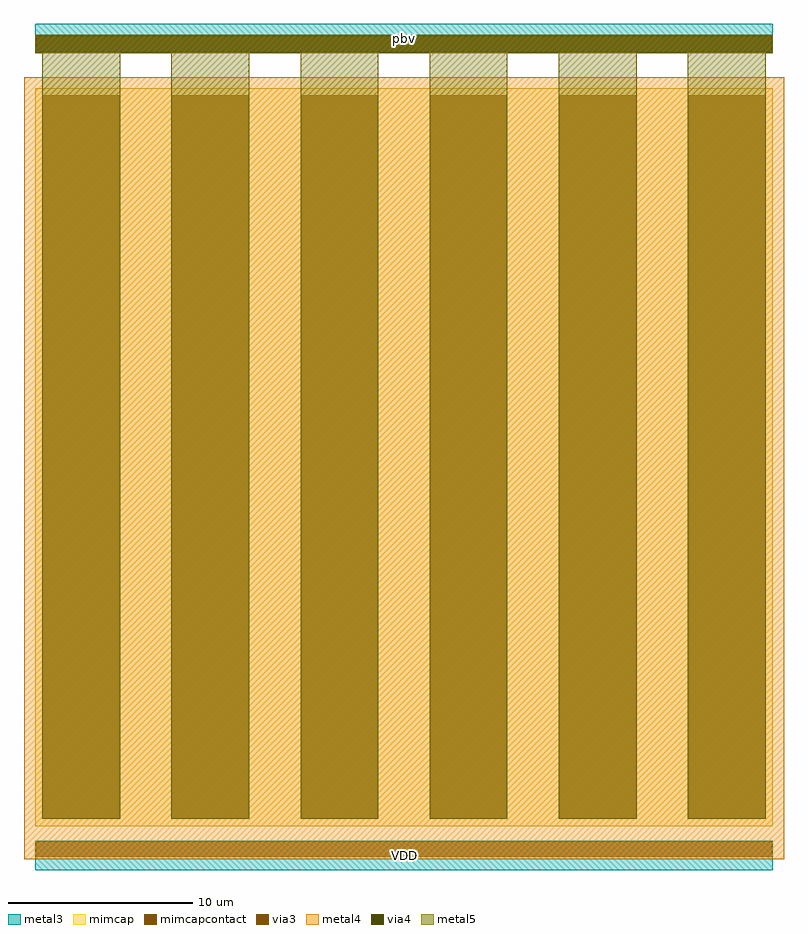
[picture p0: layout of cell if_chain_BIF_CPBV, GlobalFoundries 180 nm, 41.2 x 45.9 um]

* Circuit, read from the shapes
.subckt if_chain_BIF_CPBV pbv VDD
XC1 pbv VDD cap_mim_2f0fF c_width=40u c_length=40u
.ends

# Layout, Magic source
magic
tech gf180mcuD
magscale 1 10
<< metal3 >>
rect 0 -340 8000 -160
rect 0 8380 8000 8580
rect 0 8380 8000 8700
rect 0 8380 8000 8700
rect 0 -480 8000 -160
rect 0 -480 8000 -160
<< metal4 >>
rect -120 -360 8120 8120
rect 0 -340 8000 -160
rect 0 8380 8000 8580
rect 0 8380 8000 8580
<< mimcap >>
rect 0 0 8000 8000
<< metal5 >>
rect 78 78 922 8480
rect 1478 78 2322 8480
rect 2878 78 3722 8480
rect 4278 78 5122 8480
rect 5678 78 6522 8480
rect 7078 78 7922 8480
rect 0 8380 8000 8580
rect 0 8380 8000 8580
<< via3 >>
rect 10 -330 7990 -170
rect 10 8390 7990 8570
<< via4 >>
rect 10 8390 7990 8570
<< mimcapcontact >>
rect 78 78 922 7922
rect 1478 78 2322 7922
rect 2878 78 3722 7922
rect 4278 78 5122 7922
rect 5678 78 6522 7922
rect 7078 78 7922 7922
<< labels >>
flabel metal3 s 0 8380 8000 8700 0 FreeSans 80 0 0 0 pbv
port 1 nsew signal bidirectional
flabel metal3 s 0 -480 8000 -160 0 FreeSans 80 0 0 0 VDD
port 2 nsew signal bidirectional
<< end >>
